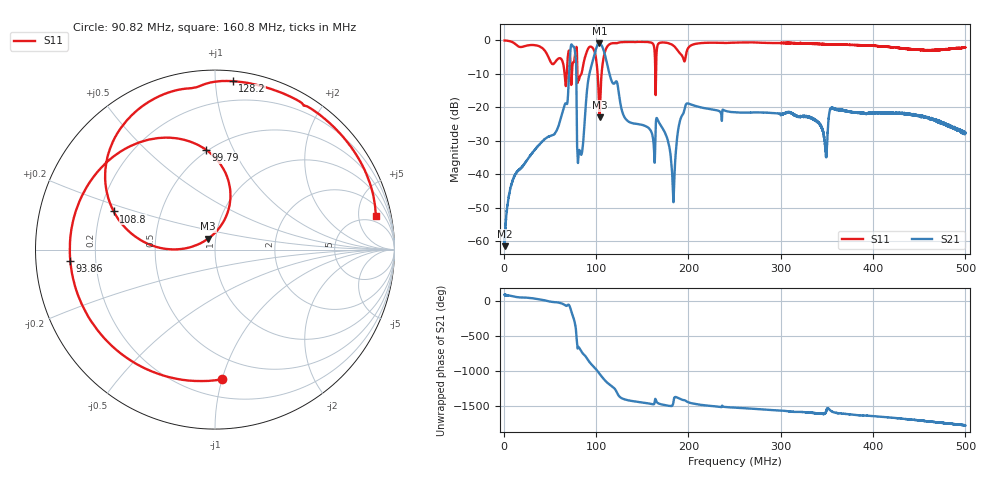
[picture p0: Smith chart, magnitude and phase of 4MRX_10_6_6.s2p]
! NanoVNA-App
! Date: 2026-08-19 14:53:54
! Start: 1MHz Stop: 500MHz Points: 6401
! S-Parameter data: F S11 S21 S12 S22
# Hz S RI R 50
!  Frequency  S11_Real  S11_Imag  S21_Real  S21_Imag  S12_Real  S12_Imag  S22_Real  S22_Imag
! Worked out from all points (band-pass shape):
!   6401 points, 1 MHz to 500 MHz, reference 50 ohm
!   highest |S21| = -0.89 dB at 103.6 MHz (marker M1); lowest = -61.4 dB at 1 MHz (marker M2)
!   |S21| within 3 dB of the highest: 72.04 MHz to 77.44 MHz (5.401 MHz wide, 7.23 % of centre); 98.51 MHz to 109.3 MHz (10.75 MHz wide, 10.3 % of centre)
!   lowest |S11| = -22.9 dB at 103.8 MHz (marker M3), VSWR 1.15, Z = 46 + j5.64 ohm
!   |S11| at or under -10 dB: 65.98 MHz to 68.24 MHz (2.256 MHz wide, 3.36 % of centre); 79.73 MHz to 84.11 MHz (4.383 MHz wide, 5.35 % of centre); 101.7 MHz to 106 MHz (4.272 MHz wide, 4.11 % of centre)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
!   S12 and S22 are empty: the file has one direction only
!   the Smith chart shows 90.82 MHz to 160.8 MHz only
!   S11 on the Smith chart (normalised r, x): 90.82 MHz: 0.33, -1.00; 93.86 MHz: 0.11, -0.04; 99.79 MHz: 0.49, +0.79; 108.8 MHz: 0.26, +0.17; 128.2 MHz: 0.07, +1.11; 160.8 MHz: 3.44, +8.11
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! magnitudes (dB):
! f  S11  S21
! 1 MHz  0.0  -61.4
! 12.07 MHz  -1.0  -40.2
! 59.4 MHz  -5.4  -25.5
! 74.45 MHz  -7.5  -1.6
! 81.46 MHz  -11.8  -32.9
! 84.19 MHz  -9.9  -34.0
! 90.82 MHz  -2.8  -13.4
! 93.86 MHz  -1.8  -8.8
! 99.79 MHz  -5.1  -2.7
! 103.6 MHz  -22.3  -0.9
! 103.8 MHz  -22.9  -0.9
! 108.8 MHz  -4.4  -3.4
! 128.2 MHz  -0.5  -21.1
! 160.8 MHz  -0.8  -27.9
! 167.4 MHz  -1.0  -24.0
! 183.5 MHz  -1.5  -47.1
! 198.5 MHz  -3.1  -18.8
! 250.5 MHz  -0.7  -21.5
! 333.7 MHz  -1.0  -23.3
! 348.4 MHz  -1.2  -32.5
! 416.9 MHz  -2.0  -21.6
! 500 MHz  -2.1  -27.4
